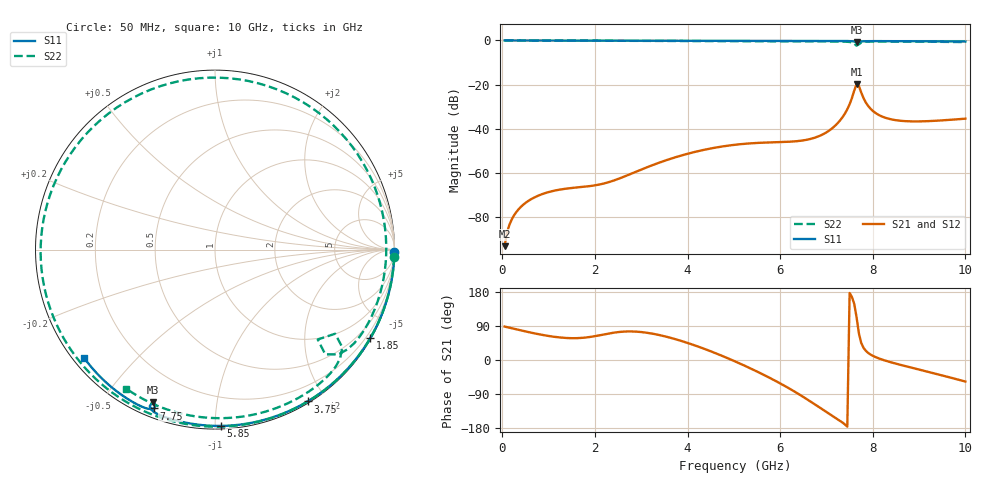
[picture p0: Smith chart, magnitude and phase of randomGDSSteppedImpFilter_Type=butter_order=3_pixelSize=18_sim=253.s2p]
! freq	dB(S11)	phase(S11)	dB(S12)	phase(S12)
!  dB(S21)	phase(S21)	dB(S22)	phase(S22)
!S-par simulation data
#  GHz  S  DB  R 50
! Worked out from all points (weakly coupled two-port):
!   200 points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, 50 MHz to 10 GHz, reference 50 ohm
!   highest |S21| = -19.85 dB at 7.65 GHz (marker M1); lowest = -93.4 dB at 50 MHz (marker M2)
!   lowest |S11| = -0.7 dB at 7.65 GHz (marker M3), VSWR 23.30, Z = 3.11 - j33.5 ohm
!   |S11| at or under -10 dB: nowhere
!   |S22| runs from -2.4 to 0.0 dB; largest |S21 - S12| = 0
!   S11 on the Smith chart (normalised r, x): 50 MHz: open; 1.85 GHz: 0.03, -3.77; 3.75 GHz: 0.02, -1.78; 5.85 GHz: 0.02, -1.03; 7.75 GHz: 0.04, -0.68; 10 GHz: 0.03, -0.36
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0.05  -0.00 -0.8  -93.38 88.2  -93.38 88.2  -0.00 -2.2
0.25  -0.01 -4.1  -79.51 82.5  -79.51 82.5  -0.01 -10.9
0.85  -0.02 -13.8  -69.84 66.6  -69.84 66.6  -0.04 -36.9
1.75  -0.04 -28.1  -66.44 58.7  -66.44 58.7  -0.10 -76.0
1.85  -0.04 -29.7  -66.21 60.0  -66.21 60.0  -0.10 -80.4
2.6  -0.05 -41.3  -62.07 74.7  -62.07 74.7  -0.15 -113.9
3.4  -0.07 -53.4  -55.38 65.6  -55.38 65.6  -0.21 -152.4
3.75  -0.08 -58.6  -52.95 54.6  -52.95 54.6  -0.24 -170.6
4.4  -0.10 -68.1  -49.46 27.7  -49.46 27.7  -0.30 152.6
5.05  -0.12 -77.2  -47.29 -4.9  -47.29 -4.9  -0.35 111.8
5.45  -0.13 -82.7  -46.58 -27.5  -46.58 -27.5  -0.37 85.4
5.85  -0.15 -88.2  -46.24 -51.9  -46.24 -51.9  -0.39 59.0
6.3  -0.17 -94.2  -45.83 -82.5  -45.83 -82.5  -0.39 30.5
6.7  -0.19 -99.5  -44.45 -113.1  -44.45 -113.1  -0.40 6.8
7.3  -0.24 -107.6  -36.14 -161.0  -36.14 -161.0  -0.47 -25.6
7.55  -0.36 -111.7  -26.14 166.2  -26.14 166.2  -0.90 -40.4
7.65  -0.75 -112.3  -19.85 112.8  -19.85 112.8  -2.38 -41.2
7.75  -0.46 -111.1  -23.60 45.3  -23.60 45.3  -0.97 -37.5
8  -0.31 -115.2  -31.96 11.1  -31.96 11.1  -0.47 -52.0
8.35  -0.32 -119.9  -35.57 -4.6  -35.57 -4.6  -0.47 -66.7
9.1  -0.38 -129.3  -36.70 -28.3  -36.70 -28.3  -0.56 -93.5
10  -0.48 -140.4  -35.50 -56.8  -35.50 -56.8  -0.74 -122.6
